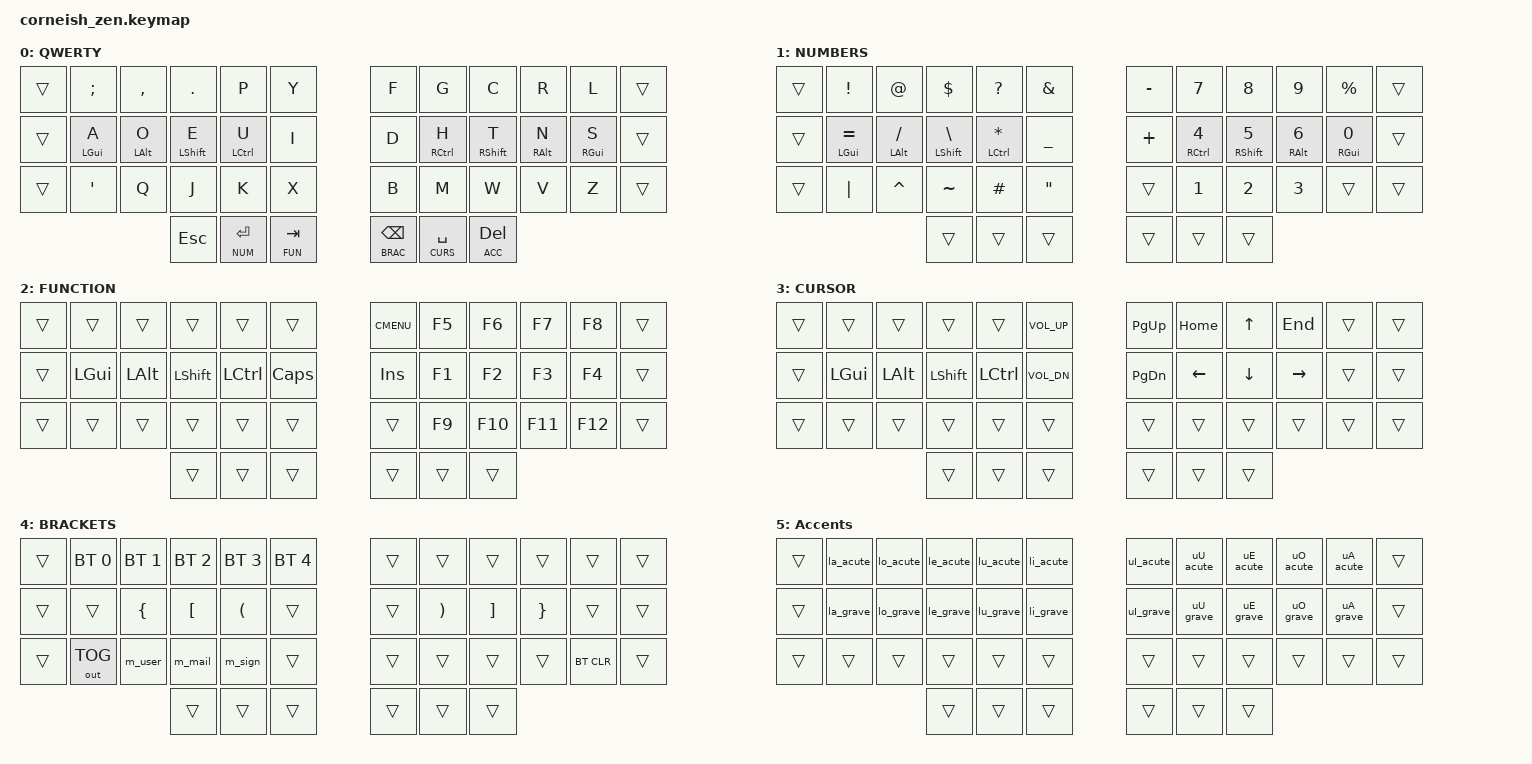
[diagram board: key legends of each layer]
/*
*
* Copyright (c) 2021 Darryl deHaan
* SPDX-License-Identifier: MIT
*
*/

#include <behaviors.dtsi>
#include <dt-bindings/zmk/keys.h>
#include <dt-bindings/zmk/bt.h>
#include <dt-bindings/zmk/outputs.h>

#define BASE 0
#define NUM  1
#define FUN  2
#define CURS 3
#define BRAC 4
#define ACC 5

/ {
  chosen {
    zmk,matrix_transform = &default_transform;
    //zmk,matrix_transform = &five_column_transform;
  };

  macros {
    m_user: m_user {
      label = "username";
      compatible = "zmk,behavior-macro";
      #binding-cells = <0>;
      wait-ms = <0>;
      bindings
      = <&kp E &kp M &kp A &kp N &kp U &kp E &kp L &kp E>
      , <&kp F &kp I &kp R &kp M &kp A &kp N &kp I>
      ;
    };
    m_mail: m_mail {
      label = "email";
      compatible = "zmk,behavior-macro";
      #binding-cells = <0>;
      wait-ms = <0>;
      bindings
      = <&kp E &kp M &kp A &kp N &kp U &kp E &kp L &kp E>
      , <&kp F &kp I &kp R &kp M &kp A &kp N &kp I>
      , <&kp AT &kp K &kp P &kp M &kp G &kp DOT &kp C &kp O &kp M>
      ;
    };
    m_sign: m_sign {
      label = "signature";
      compatible = "zmk,behavior-macro";
      #binding-cells = <0>;
      wait-ms = <0>;
      bindings
      = <&kp LS(T) &kp H &kp A &kp N &kp K &kp S &kp ENTER>
      , <&kp LS(C) &kp I &kp A &kp O &kp ENTER>
      , <&kp LS(E) &kp M &kp A &kp N &kp U &kp E &kp L &kp E>
      ;
    };
    ZMK_MACRO(la_grave,
      bindings
        = <&macro_press   &kp LALT>
        , <&macro_tap     &kp KP_N0 &kp KP_N2 &kp KP_N2 &kp KP_N4>
        , <&macro_release &kp LALT>
        ;
    )
    ZMK_MACRO(lo_grave,
      bindings
        = <&macro_press   &kp LALT>
        , <&macro_tap     &kp KP_N0 &kp KP_N2 &kp KP_N4 &kp KP_N2>
        , <&macro_release &kp LALT>
        ;
    )
    ZMK_MACRO(le_grave,
      bindings
        = <&macro_press   &kp LALT>
        , <&macro_tap     &kp KP_N0 &kp KP_N2 &kp KP_N3 &kp KP_N2>
        , <&macro_release &kp LALT>
        ;
    )
    ZMK_MACRO(lu_grave,
      bindings
        = <&macro_press   &kp LALT>
        , <&macro_tap     &kp KP_N0 &kp KP_N2 &kp KP_N4 &kp KP_N9>
        , <&macro_release &kp LALT>
        ;
    )
    ZMK_MACRO(li_grave,
      bindings
        = <&macro_press   &kp LALT>
        , <&macro_tap     &kp KP_N0 &kp KP_N2 &kp KP_N3 &kp KP_N6>
        , <&macro_release &kp LALT>
        ;
    )
    ZMK_MACRO(la_acute,
      bindings
        = <&macro_press   &kp LALT>
        , <&macro_tap     &kp KP_N0 &kp KP_N2 &kp KP_N2 &kp KP_N5>
        , <&macro_release &kp LALT>
        ;
    )
    ZMK_MACRO(lo_acute,
      bindings
        = <&macro_press   &kp LALT>
        , <&macro_tap     &kp KP_N0 &kp KP_N2 &kp KP_N4 &kp KP_N3>
        , <&macro_release &kp LALT>
        ;
    )
    ZMK_MACRO(le_acute,
      bindings
        = <&macro_press   &kp LALT>
        , <&macro_tap     &kp KP_N0 &kp KP_N2 &kp KP_N3 &kp KP_N3>
        , <&macro_release &kp LALT>
        ;
    )
    ZMK_MACRO(lu_acute,
      bindings
        = <&macro_press   &kp LALT>
        , <&macro_tap     &kp KP_N0 &kp KP_N2 &kp KP_N5 &kp KP_N0>
        , <&macro_release &kp LALT>
        ;
    )
    ZMK_MACRO(li_acute,
      bindings
        = <&macro_press   &kp LALT>
        , <&macro_tap     &kp KP_N0 &kp KP_N2 &kp KP_N3 &kp KP_N7>
        , <&macro_release &kp LALT>
        ;
    )
    ZMK_MACRO(uA_grave,
      bindings
        = <&macro_press   &kp LALT>
        , <&macro_tap     &kp KP_N0 &kp KP_N1 &kp KP_N9 &kp KP_N3>
        , <&macro_release &kp LALT>
        ;
    )
    ZMK_MACRO(uO_grave,
      bindings
        = <&macro_press   &kp LALT>
        , <&macro_tap     &kp KP_N0 &kp KP_N2 &kp KP_N1 &kp KP_N1>
        , <&macro_release &kp LALT>
        ;
    )
    ZMK_MACRO(uE_grave,
      bindings
        = <&macro_press   &kp LALT>
        , <&macro_tap     &kp KP_N0 &kp KP_N2 &kp KP_N0 &kp KP_N1>
        , <&macro_release &kp LALT>
        ;
    )
    ZMK_MACRO(uU_grave,
      bindings
        = <&macro_press   &kp LALT>
        , <&macro_tap     &kp KP_N0 &kp KP_N2 &kp KP_N1 &kp KP_N8>
        , <&macro_release &kp LALT>
        ;
    )
    ZMK_MACRO(uI_grave,
      bindings
        = <&macro_press   &kp LALT>
        , <&macro_tap     &kp KP_N0 &kp KP_N2 &kp KP_N0 &kp KP_N5>
        , <&macro_release &kp LALT>
        ;
    )
    ZMK_MACRO(uA_acute,
      bindings
        = <&macro_press   &kp LALT>
        , <&macro_tap     &kp KP_N0 &kp KP_N1 &kp KP_N9 &kp KP_N2>
        , <&macro_release &kp LALT>
        ;
    )
    ZMK_MACRO(uO_acute,
      bindings
        = <&macro_press   &kp LALT>
        , <&macro_tap     &kp KP_N0 &kp KP_N2 &kp KP_N1 &kp KP_N0>
        , <&macro_release &kp LALT>
        ;
    )
    ZMK_MACRO(uE_acute,
      bindings
        = <&macro_press   &kp LALT>
        , <&macro_tap     &kp KP_N0 &kp KP_N2 &kp KP_N0 &kp KP_N0>
        , <&macro_release &kp LALT>
        ;
    )
    ZMK_MACRO(uU_acute,
      bindings
        = <&macro_press   &kp LALT>
        , <&macro_tap     &kp KP_N0 &kp KP_N2 &kp KP_N1 &kp KP_N7>
        , <&macro_release &kp LALT>
        ;
    )
    ZMK_MACRO(uI_acute,
      bindings
        = <&macro_press   &kp LALT>
        , <&macro_tap     &kp KP_N0 &kp KP_N2 &kp KP_N0 &kp KP_N4>
        , <&macro_release &kp LALT>
        ;
    )
  };
};

/ {
        keymap {
                compatible = "zmk,keymap";

                default_layer {
                        label = "QWERTY";
// -----------------------------------------------------------------------------------------
// | |  ;  |  ,  |  .  |  P  |  Y  |            |  F  |  G   |  C  |  R  |  L  | |
// | |  A  |  O  |  E  |  U  |  I  |            |  D  |  H   |  T  |  N  |  S  | |
// | |  '  |  Q  |  J  |  K  |  X  |            |  B  |  M   |  W  |  V  |  Z  | |
//             | ESC | Enter | Tab |            | ENT | RSE  | ALT |
                        bindings = <
   &trans &kp SEMI   &kp COMMA  &kp DOT     &kp P               &kp Y           &kp F           &kp G           &kp C       &kp R      &kp L      &trans
   &trans &mt LGUI A &mt LALT O &mt LSHFT E &mt LCTRL U         &kp I           &kp D           &mt RCTRL H     &mt RSHFT T &mt RALT N &mt RGUI S &trans
   &trans &kp APOS   &kp Q      &kp J       &kp K               &kp X           &kp B           &kp M           &kp W       &kp V      &kp Z      &trans
                                &kp ESC     &lt NUM ENTER       &lt FUN TAB     &lt BRAC BSPC   &lt CURS SPACE  &lt ACC DEL
                        >;
                };

                numbers_layer {
                        label = "NUMBERS";
// -----------------------------------------------------------------------------------------
// | |  !  |  @  |  $  |  ?  |  &  |            |  -  |  7   |  8  |  9  |  %  | |
// | |  =  |  /  |  \  |  *  |  _  |            |  +  |  4   |  5  |  6  |  0  | |
// | |  |  |  ^  |  ~  |  #  |  "  |            |     |  1   |  2  |  3  |     | |
                        bindings = <
   &trans &kp EXCL        &kp AT         &kp DOLLAR     &kp QMARK       &kp AMPS        &kp MINUS  &kp N7        &kp N8        &kp N9      &kp PRCNT    &trans
   &trans &mt LGUI EQUAL  &mt LALT FSLH  &mt LSHFT BSLH &mt LCTRL STAR  &kp UNDER       &kp PLUS   &mt RCTRL N4  &mt RSHFT N5  &mt RALT N6 &mt RGUI N0  &trans
   &trans &kp PIPE        &kp CARET      &kp TILDE      &kp HASH        &kp DQT         &trans     &kp N1        &kp N2        &kp N3      &trans       &trans
                                         &trans         &trans          &trans          &trans     &trans  &trans
                        >;
                };

                function_layer {
                        label = "FUNCTION";
// -----------------------------------------------------------------------------------------
// | |     |     |     |     |     |            |Menu | F5   | F6  | F7  | F8  | |
// | | GUI | Alt |Shift|Ctrl |     |            |Inser| F1   | F2  | F3  | F4  | |
// | |     |     |     |     |     |            |     | F9   | F10 | F11 | F12 | |
                        bindings = <
   &trans &trans    &trans     &trans      &trans     &trans        &kp K_CMENU  &kp F5   &kp F6   &kp F7   &kp F8   &trans
   &trans &kp LGUI  &kp LALT   &kp LSHFT   &kp LCTRL  &kp CAPS      &kp INSERT   &kp F1   &kp F2   &kp F3   &kp F4   &trans
   &trans &trans    &trans     &trans      &trans     &trans        &trans       &kp F9   &kp F10  &kp F11  &kp F12  &trans
                               &trans      &trans     &trans        &trans       &trans   &trans
                        >;
                };

                cursor_layer {
                        label = "CURSOR";
// -----------------------------------------------------------------------------------------
// | |     |     |     |     |Vol+ |            |PgUp |Home  | Up  | End |     | |
// | | GUI | Alt |Shift|Ctrl |Vol- |            |PgDw |Left  |Down |Right|     | |
// | |     |     |     |     |     |            |     |      |     |     |     | |
                        bindings = <
   &trans &trans    &trans     &trans      &trans     &kp C_VOL_UP    &kp PG_UP   &kp HOME   &kp UP    &kp END    &trans   &trans
   &trans &kp LGUI  &kp LALT   &kp LSHFT   &kp LCTRL  &kp C_VOL_DN    &kp PG_DN   &kp LEFT   &kp DOWN  &kp RIGHT  &trans   &trans
   &trans &trans    &trans     &trans      &trans     &trans          &trans      &trans     &trans    &trans     &trans  &trans
                               &trans      &trans     &trans          &trans      &trans     &trans
                        >;
                };


                brackets_layer {
                        label = "BRACKETS";
// -----------------------------------------------------------------------------------------
// | | BT1 | BT2 | BT3 | BT4 | BT5 |            |     |     |     |     |     | |
// | |     |  {  |  [  |  (  |     |            |  )  |  ]  |  }  |     |     | |
// | |BlUsb|user |mail |sign |     |            |     |     |     |     |BTCLR| |
                        bindings = <
   &trans &bt BT_SEL 0  &bt BT_SEL 1  &bt BT_SEL 2  &bt BT_SEL 3  &bt BT_SEL 4      &trans  &trans   &trans    &trans      &trans      &trans
   &trans &trans        &kp LBRC      &kp LBKT      &kp LPAR      &trans            &trans  &kp RPAR   &kp RBKT  &kp RBRC  &trans      &trans
   &trans &out OUT_TOG  &m_user       &m_mail       &m_sign       &trans            &trans  &trans     &trans    &trans    &bt BT_CLR  &trans
                                      &trans        &trans        &trans            &trans  &trans     &trans
                        >;
                };

                lower_layer {
                        label = "Accents";
                        bindings = <
   &trans &la_acute &lo_acute &le_acute &lu_acute &li_acute      &uI_acute &uU_acute &uE_acute &uO_acute &uA_acute &trans
   &trans &la_grave &lo_grave &le_grave &lu_grave &li_grave      &uI_grave &uU_grave &uE_grave &uO_grave &uA_grave &trans
   &trans &trans    &trans    &trans    &trans    &trans         &trans    &trans    &trans    &trans    &trans   &trans
                              &trans    &trans    &trans         &trans    &trans    &trans
                        >;
                };
        };
};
